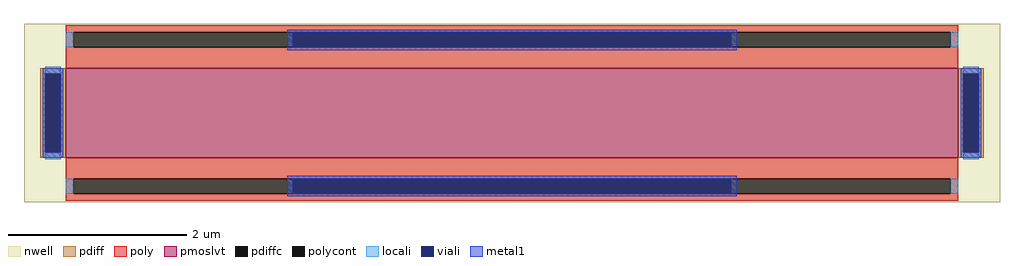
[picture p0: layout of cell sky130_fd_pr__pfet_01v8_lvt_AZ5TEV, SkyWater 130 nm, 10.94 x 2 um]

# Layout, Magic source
magic
tech sky130A
magscale 1 2
<< nwell >>
rect -1094 -200 1094 200
<< pmoslvt >>
rect -1000 -100 1000 100
<< pdiff >>
rect -1058 88 -1000 100
rect -1058 -88 -1046 88
rect -1012 -88 -1000 88
rect -1058 -100 -1000 -88
rect 1000 88 1058 100
rect 1000 -88 1012 88
rect 1046 -88 1058 88
rect 1000 -100 1058 -88
<< pdiffc >>
rect -1046 -88 -1012 88
rect 1012 -88 1046 88
<< poly >>
rect -1000 181 1000 197
rect -1000 147 -984 181
rect 984 147 1000 181
rect -1000 100 1000 147
rect -1000 -147 1000 -100
rect -1000 -181 -984 -147
rect 984 -181 1000 -147
rect -1000 -197 1000 -181
<< polycont >>
rect -984 147 984 181
rect -984 -181 984 -147
<< locali >>
rect -1000 147 -984 181
rect 984 147 1000 181
rect -1046 88 -1012 104
rect -1046 -104 -1012 -88
rect 1012 88 1046 104
rect 1012 -104 1046 -88
rect -1000 -181 -984 -147
rect 984 -181 1000 -147
<< viali >>
rect -492 147 492 181
rect -1046 -88 -1012 88
rect 1012 -88 1046 88
rect -492 -181 492 -147
<< metal1 >>
rect -504 181 504 187
rect -504 147 -492 181
rect 492 147 504 181
rect -504 141 504 147
rect -1052 88 -1006 100
rect -1052 -88 -1046 88
rect -1012 -88 -1006 88
rect -1052 -100 -1006 -88
rect 1006 88 1052 100
rect 1006 -88 1012 88
rect 1046 -88 1052 88
rect 1006 -100 1052 -88
rect -504 -147 504 -141
rect -504 -181 -492 -147
rect 492 -181 504 -147
rect -504 -187 504 -181
<< properties >>
string gencell sky130_fd_pr__pfet_01v8_lvt
string library sky130
string parameters w 1 l 10 m 1 nf 1 diffcov 100 polycov 100 guard 0 glc 0 grc 0 gtc 0 gbc 0 tbcov 100 rlcov 100 topc 1 botc 1 poverlap 0 doverlap 1 lmin 0.35 wmin 0.42 compatible {sky130_fd_pr__pfet_01v8  sky130_fd_pr__pfet_01v8_lvt sky130_fd_pr__pfet_01v8_hvt  sky130_fd_pr__pfet_g5v0d10v5} full_metal 0 viasrc 100 viadrn 100 viagate 50 viagb 0 viagr 0 viagl 0 viagt 0
<< end >>
